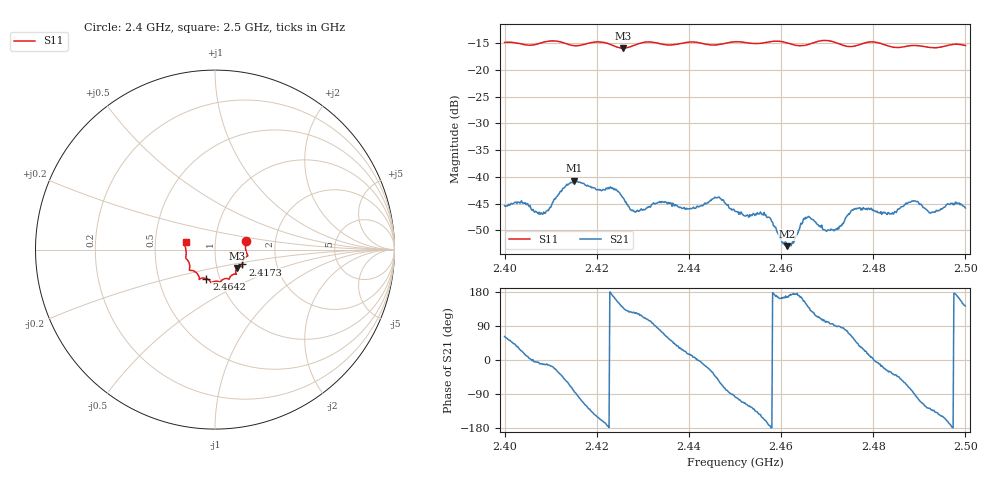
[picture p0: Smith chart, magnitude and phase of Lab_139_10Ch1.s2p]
# Hz S RI R 50
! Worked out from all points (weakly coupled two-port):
!   601 points, 2.4 GHz to 2.5 GHz, reference 50 ohm
!   highest |S21| = -40.74 dB at 2.415 GHz (marker M1); lowest = -53.0 dB at 2.4613 GHz (marker M2)
!   lowest |S11| = -15.9 dB at 2.4257 GHz (marker M3), VSWR 1.38, Z = 62.4 - j13.1 ohm
!   |S11| at or under -10 dB: start of sweep to end of sweep
!   S12 and S22 are empty: the file has one direction only
!   S11 on the Smith chart (normalised r, x): 2.4 GHz: 1.41, +0.14; 2.4173 GHz: 1.34, -0.23; 2.4642 GHz: 0.86, -0.29; 2.5 GHz: 0.72, +0.06
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2.4e9  0.1737 0.0492  0.00252 0.00475  0 0  0 0
2.404e9  0.1715 0.0249  0.00531 0.00193  0 0  0 0
2.4085e9  0.1802 -0.0255  0.00462 -0.000879  0 0  0 0
2.415e9  0.159 -0.0554  0.00146 -0.00907  0 0  0 0
2.416667e9  0.1531 -0.075  -0.00257 -0.00842  0 0  0 0
2.417333e9  0.1524 -0.0824  -0.0038 -0.00765  0 0  0 0
2.425667e9  0.1224 -0.1023  -0.00482 0.00423  0 0  0 0
2.428167e9  0.1148 -0.1252  -0.00266 0.00396  0 0  0 0
2.433333e9  0.1126 -0.1365  0.000696 0.00574  0 0  0 0
2.440167e9  0.0796 -0.1638  0.00483 0.00134  0 0  0 0
2.446167e9  0.0457 -0.1655  0.00425 -0.00476  0 0  0 0
2.45e9  0.0295 -0.1808  -0.000584 -0.00471  0 0  0 0
2.456833e9  -0.0126 -0.1804  -0.00405 -0.00122  0 0  0 0
2.461333e9  -0.0268 -0.1764  -0.00219 0.000516  0 0  0 0
2.464167e9  -0.048 -0.1612  -0.00339 0.000897  0 0  0 0
2.466667e9  -0.0763 -0.1596  -0.00245 0.00316  0 0  0 0
2.470167e9  -0.0874 -0.166  -0.000592 0.00314  0 0  0 0
2.476333e9  -0.1199 -0.1181  0.00345 0.00363  0 0  0 0
2.483333e9  -0.1408 -0.0897  0.00395 -0.00244  0 0  0 0
2.488667e9  -0.1621 -0.0477  0.000452 -0.00589  0 0  0 0
2.4925e9  -0.1604 -0.0197  -0.00301 -0.00346  0 0  0 0
2.5e9  -0.1639 0.0415  -0.00405 0.00313  0 0  0 0
